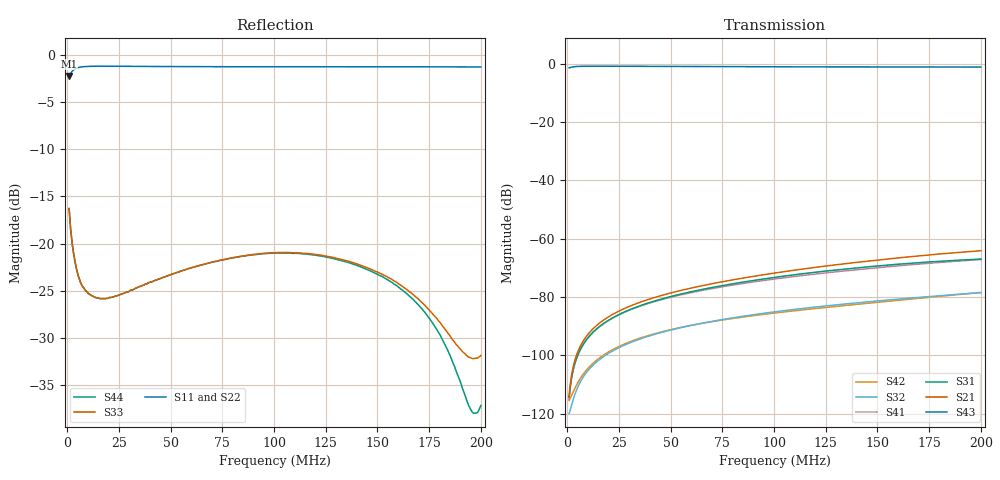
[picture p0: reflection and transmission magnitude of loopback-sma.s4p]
!SIMULATED forward model. SMA ports A/J2 B/J3 C/J4 D/J5. See electrical-assumptions.json.
! Created with skrf 2.1.0 (http://scikit-rf.org).
# Hz S RI R 50.0
!freq ReS11 ImS11 ReS12 ImS12 ReS13 ImS13
! ReS14 ImS14
! ReS21 ImS21 ReS22 ImS22 ReS23 ImS23
! ReS24 ImS24
! ReS31 ImS31 ReS32 ImS32 ReS33 ImS33
! ReS34 ImS34
! ReS41 ImS41 ReS42 ImS42 ReS43 ImS43
! ReS44 ImS44
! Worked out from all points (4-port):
!   1601 points, 1 MHz to 200 MHz, reference 50 ohm
!   strongest paths, dB at 1 MHz, 50.75 MHz, 100.5 MHz, 150.2 MHz, 200 MHz:
!     S43: -1.5, -1.0, -1.1, -1.1, -1.2
!     S21: -114.1, -78.5, -71.7, -67.3, -64.1
!     S31: -114.3, -79.7, -73.2, -69.3, -67.0
!     S41: -115.1, -80.0, -73.8, -69.9, -67.1
!     S32: -119.8, -91.2, -85.0, -81.3, -78.5
!     S42: -115.4, -91.1, -85.4, -81.8, -78.4
!   lowest |S11| = -2.3 dB at 1 MHz (marker M1), VSWR 7.68, Z = 206 + j188 ohm
!   |S11| at or under -10 dB: nowhere
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1000000  0.7464 0.1868  -4.86e-07 -1.93e-06  7.73e-07 -1.77e-06  -4.74e-08 -1.76e-06
         -5.14e-07 -1.9e-06  0.7463 0.1876  5.81e-07 7.25e-07  -1.67e-06 5.15e-07
         7.51e-07 -1.77e-06  6.87e-07 7.52e-07  -0.0969 0.1187  0.8432 0.0685
         -2.84e-08 -1.77e-06  -1.61e-06 5.43e-07  0.8432 0.0685  -0.0969 0.1187
6099375  0.8568 -0.009  -1.13e-06 -1.37e-05  4.67e-07 -1.2e-05  -8.22e-07 -1.18e-05
         -1.15e-06 -1.36e-05  0.8569 -0.00342  6.97e-07 3.2e-06  -1.64e-06 3.48e-06
         4.45e-07 -1.2e-05  8.22e-07 3.25e-06  -0.0415 0.0492  0.8984 -0.0557
         -8.02e-07 -1.18e-05  -1.57e-06 3.53e-06  0.8984 -0.0557  -0.0415 0.0492
1.54275e7  0.8516 -0.1673  -7.44e-06 -3.47e-05  -3.89e-06 -3.05e-05  -7.61e-06 -2.95e-05
           -7.41e-06 -3.44e-05  0.8542 -0.1532  1.85e-06 8.02e-06  2.27e-07 8.78e-06
           -3.91e-06 -3.05e-05  2e-06 8.12e-06  -0.0286 0.0427  0.8814 -0.2036
           -7.6e-06 -2.95e-05  3.13e-07 8.9e-06  0.8814 -0.2036  -0.0286 0.0427
6.157062e7  0.5485 -0.6658  -0.000111 -9.85e-05  -7.84e-05 -9.98e-05  -0.000106 -6.07e-05
            -0.00011 -9.77e-05  0.5911 -0.6271  2.13e-05 2.54e-05  2.65e-05 1.98e-05
            -7.84e-05 -9.98e-05  2.18e-05 2.56e-05  0.0354 0.0667  0.5321 -0.7153
            -0.000106 -6.07e-05  2.69e-05 2.02e-05  0.5321 -0.7153  0.0357 0.0663
1.026144e8  0.0692 -0.8595  -0.000265 -3.89e-05  -0.000205 -8.95e-05  -0.000205 3.91e-05
            -0.000263 -3.86e-05  0.166 -0.8438  5.26e-05 2.03e-05  5.36e-05 3.87e-07
            -0.000205 -8.95e-05  5.35e-05 2.02e-05  0.0848 0.0297  0.0271 -0.8824
            -0.000205 3.92e-05  5.45e-05 7.9e-07  0.0271 -0.8824  0.0849 0.0278
1.599512e8  -0.6368 -0.5801  -0.000352 0.000315  -0.000343 0.000126  -0.000119 0.000321
            -0.000349 0.000313  -0.5171 -0.6836  8.08e-05 -4.16e-05  5.84e-05 -6.39e-05
            -0.000343 0.000126  8.16e-05 -4.3e-05  0.056 -0.0255  -0.6405 -0.5996
            -0.000119 0.000321  6e-05 -6.44e-05  -0.6405 -0.5996  0.051 -0.0299
2e8  -0.8587 -0.0354  -0.000109 0.000618  -0.000267 0.000359  0.000172 0.000405
     -0.000108 0.000614  -0.8214 -0.2318  4.5e-05 -0.000108  1.44e-05 -0.000117
     -0.000267 0.000359  4.45e-05 -0.000111  0.0238 0.00946  -0.8653 -0.1301
     0.000172 0.000405  1.58e-05 -0.000119  -0.8653 -0.1302  0.0113 0.00818
